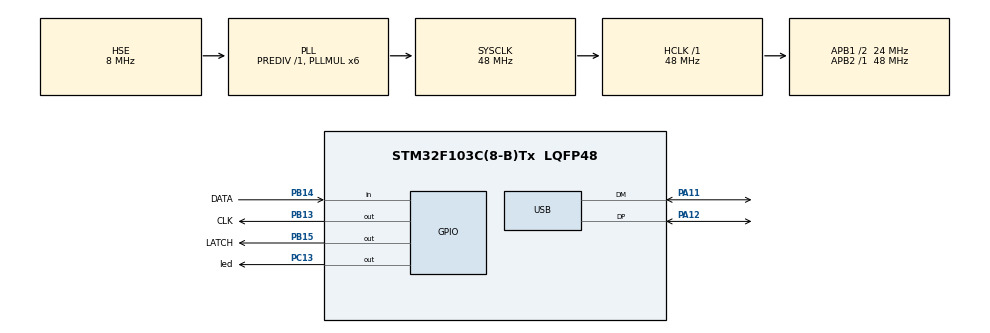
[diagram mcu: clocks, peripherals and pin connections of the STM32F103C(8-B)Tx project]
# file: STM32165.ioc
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Mcu.Family=STM32F1
Mcu.Name=STM32F103C(8-B)Tx
Mcu.Package=LQFP48
NVIC.PriorityGroup=NVIC_PRIORITYGROUP_4
NVIC.USB_LP_CAN1_RX0_IRQn=true\:0\:0\:false\:false\:true\:false\:true\:true
PA11.Mode=Device
PA11.Signal=USB_DM
PA12.Mode=Device
PA12.Signal=USB_DP
PA13.Mode=Serial_Wire
PA13.Signal=SYS_JTMS-SWDIO
PA14.Mode=Serial_Wire
PA14.Signal=SYS_JTCK-SWCLK
PB13.GPIO_Label=CLK
PB13.Signal=GPIO_Output
PB14.GPIO_Label=DATA
PB14.GPIO_PuPd=GPIO_PULLUP
PB14.Signal=GPIO_Input
PB15.GPIO_Label=LATCH
PB15.Signal=GPIO_Output
PC13-TAMPER-RTC.GPIO_Label=led
PC13-TAMPER-RTC.Signal=GPIO_Output
PD0-OSC_IN.Mode=HSE-External-Oscillator
PD0-OSC_IN.Signal=RCC_OSC_IN
PD1-OSC_OUT.Mode=HSE-External-Oscillator
PD1-OSC_OUT.Signal=RCC_OSC_OUT
ProjectManager.HeapSize=0x200
ProjectManager.StackSize=0x400
ProjectManager.TargetToolchain=Makefile
RCC.AHBFreq_Value=48000000
RCC.APB1CLKDivider=RCC_HCLK_DIV2
RCC.APB1Freq_Value=24000000
RCC.APB1TimFreq_Value=48000000
RCC.APB2Freq_Value=48000000
RCC.APB2TimFreq_Value=48000000
RCC.HCLKFreq_Value=48000000
RCC.PLLMUL=RCC_PLL_MUL6
RCC.SYSCLKFreq_VALUE=48000000
RCC.SYSCLKSource=RCC_SYSCLKSOURCE_PLLCLK
RCC.USBFreq_Value=48000000
USB_DEVICE.CLASS_NAME_FS=HID
USB_DEVICE.PID_HID_FS=23315
USB_DEVICE.PRODUCT_STRING_HID_FS=kazakey
USB_DEVICE.VID=1255
USB_DEVICE.VirtualMode=Hid
USB_DEVICE.VirtualModeFS=Hid_FS
VP_USB_DEVICE_VS_USB_DEVICE_HID_FS.Mode=HID_FS
board=custom

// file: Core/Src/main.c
/* USER CODE BEGIN Header */
/**
 ******************************************************************************
 * @file           : main.c
 * @brief          : Main program body
 ******************************************************************************
 * @attention
 *
 * Copyright (c) 2024 STMicroelectronics.
 * All rights reserved.
 *
 * This software is licensed under terms that can be found in the LICENSE file
 * in the root directory of this software component.
 * If no LICENSE file comes with this software, it is provided AS-IS.
 *
 ******************************************************************************
 */
/* USER CODE END Header */
#include "main.h"
#include "usb_device.h"
#include "gpio.h"

/* USER CODE BEGIN Includes */
#include "usbd_hid.h"
// #include "hc165.h"
// #include "key.h"
#include "hc165_driver.h"
#include "keyboard.h"
/* USER CODE END Includes */

/* USER CODE BEGIN PD */

#define KEY_NUM 8

/* USER CODE END PD */

void SystemClock_Config(void);

/* USER CODE BEGIN 0 */

HC165_typedef HC165 = {
  .LATCH = LATCH_Pin,
  .CLK = CLK_Pin,
  .DATA = DATA_Pin,
  .LATCH_PORT = LATCH_GPIO_Port,
  .CLK_PORT = CLK_GPIO_Port,
  .DATA_PORT = DATA_GPIO_Port,
  .keys_number_total = KEY_NUM,
};

extern USBD_HandleTypeDef hUsbDeviceFS;
keyboardHID_t keyboardHID = {0, 0, 0, 0, 0, 0, 0, 0};

KEY_MAP key_map[8] = {
    {0x59}, // 1
    {0x5A}, // 2
    {0x5B}, // 3
    {0x5C}, // 4
    {0x5D}, // 5
    {0x5E}, // 6
    {0x5F}, // 7
    {0x60}, // 8
};

KEY_typedef KEY_8[KEY_NUM];

void HC165_data_handler(int i, int key_state)
{
  key_process(i, key_state, &KEY_8);
}

void key_handler(int i)
{
  KEY_8[i].buffer_index = find_buff_emtpy_index(&keyboardHID, 8);
  if(KEY_8[i].buffer_index != -1)
  {
    key_buffer_insert(KEY_8[i].buffer_index,i,&key_map,&keyboardHID);
  }
}

void key_handler_release(int i)
{
  remove_buff(KEY_8[i].buffer_index,&keyboardHID);
  KEY_8[i].buffer_index = -1;
}

/* USER CODE END 0 */

int main(void)
{

  /* MCU Configuration--------------------------------------------------------*/

  /* Reset of all peripherals, Initializes the Flash interface and the Systick. */
  HAL_Init();

  /* Configure the system clock */
  SystemClock_Config();

  /* Initialize all configured peripherals */
  MX_GPIO_Init();
  MX_USB_DEVICE_Init();
  /* USER CODE BEGIN 2 */
  KEY_INIT(KEY_NUM, &KEY_8, &key_map);
  /* USER CODE END 2 */

  /* Infinite loop */
  while (1)
  {

    /* USER CODE BEGIN 3 */
    USBD_HID_SendReport(&hUsbDeviceFS, (uint8_t *)&keyboardHID, sizeof(keyboardHID));
    HC165_read(&HC165);

  }
  /* USER CODE END 3 */
}

void SystemClock_Config(void)
{
  RCC_OscInitTypeDef RCC_OscInitStruct = {0};
  RCC_ClkInitTypeDef RCC_ClkInitStruct = {0};
  RCC_PeriphCLKInitTypeDef PeriphClkInit = {0};

  /** Initializes the RCC Oscillators according to the specified parameters
   * in the RCC_OscInitTypeDef structure.
   */
  RCC_OscInitStruct.OscillatorType = RCC_OSCILLATORTYPE_HSE;
  RCC_OscInitStruct.HSEState = RCC_HSE_ON;
  RCC_OscInitStruct.HSEPredivValue = RCC_HSE_PREDIV_DIV1;
  RCC_OscInitStruct.HSIState = RCC_HSI_ON;
  RCC_OscInitStruct.PLL.PLLState = RCC_PLL_ON;
  RCC_OscInitStruct.PLL.PLLSource = RCC_PLLSOURCE_HSE;
  RCC_OscInitStruct.PLL.PLLMUL = RCC_PLL_MUL6;
  if (HAL_RCC_OscConfig(&RCC_OscInitStruct) != HAL_OK)
  {
    Error_Handler();
  }

  /** Initializes the CPU, AHB and APB buses clocks
   */
  RCC_ClkInitStruct.ClockType = RCC_CLOCKTYPE_HCLK | RCC_CLOCKTYPE_SYSCLK | RCC_CLOCKTYPE_PCLK1 | RCC_CLOCKTYPE_PCLK2;
  RCC_ClkInitStruct.SYSCLKSource = RCC_SYSCLKSOURCE_PLLCLK;
  RCC_ClkInitStruct.AHBCLKDivider = RCC_SYSCLK_DIV1;
  RCC_ClkInitStruct.APB1CLKDivider = RCC_HCLK_DIV2;
  RCC_ClkInitStruct.APB2CLKDivider = RCC_HCLK_DIV1;

  if (HAL_RCC_ClockConfig(&RCC_ClkInitStruct, FLASH_LATENCY_1) != HAL_OK)
  {
    Error_Handler();
  }
  PeriphClkInit.PeriphClockSelection = RCC_PERIPHCLK_USB;
  PeriphClkInit.UsbClockSelection = RCC_USBCLKSOURCE_PLL;
  if (HAL_RCCEx_PeriphCLKConfig(&PeriphClkInit) != HAL_OK)
  {
    Error_Handler();
  }
}

void Error_Handler(void)
{
  __disable_irq();
  while (1)
  {
  }
}
